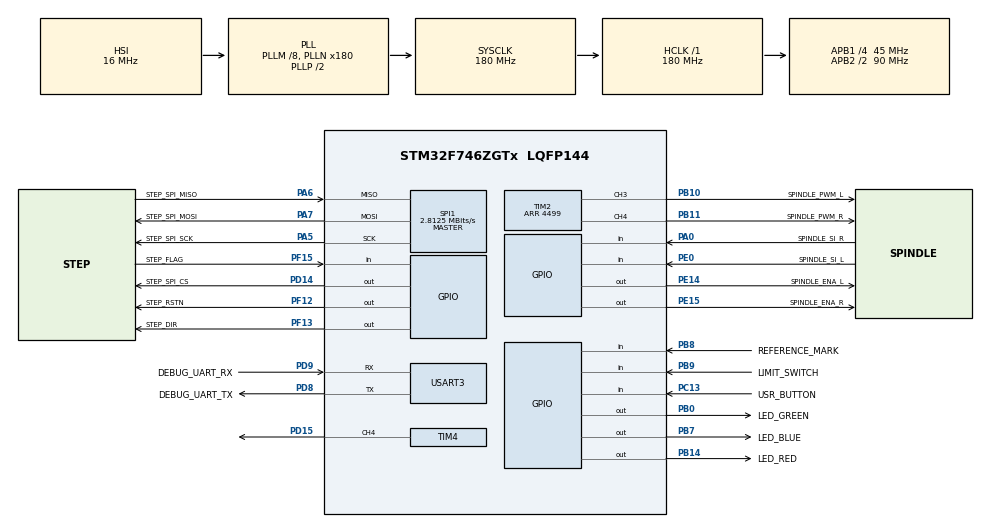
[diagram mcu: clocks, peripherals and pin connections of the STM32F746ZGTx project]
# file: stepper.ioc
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CORTEX_M7.AccessPermission_Spec=MPU_REGION_PRIV_RO_URO
CORTEX_M7.BaseAddress_S-Cortex_Memory_Protection_Unit_Region1_Settings_S=0x60000000
CORTEX_M7.DisableExec_S-Cortex_Memory_Protection_Unit_Region1_Settings_S=MPU_INSTRUCTION_ACCESS_DISABLE
CORTEX_M7.DisableExec_Spec=MPU_INSTRUCTION_ACCESS_ENABLE
CORTEX_M7.Enable_S-Cortex_Memory_Protection_Unit_Region1_Settings_S=MPU_REGION_ENABLE
CORTEX_M7.Enable_S-Cortex_Memory_Protection_Unit_Region2_Settings_S=__NULL
CORTEX_M7.IsShareable_S-Cortex_Memory_Protection_Unit_Region1_Settings_S=MPU_ACCESS_SHAREABLE
CORTEX_M7.IsShareable_Spec=MPU_ACCESS_NOT_SHAREABLE
CORTEX_M7.Size_S-Cortex_Memory_Protection_Unit_Region1_Settings_S=MPU_REGION_SIZE_4GB
CORTEX_M7.Size_Spec=MPU_REGION_SIZE_16KB
CORTEX_M7.SubRegionDisable_S-Cortex_Memory_Protection_Unit_Region1_Settings_S=0x87
CORTEX_M7.SubRegionDisable_Spec=0x0
CORTEX_M7.default_mode_Activation=1
Mcu.Family=STM32F7
Mcu.Name=STM32F746ZGTx
Mcu.Package=LQFP144
NVIC.PriorityGroup=NVIC_PRIORITYGROUP_4
NVIC.SPI1_IRQn=true\:5\:0\:true\:false\:true\:true\:true\:true
NVIC.TIM1_CC_IRQn=true\:0\:0\:false\:false\:true\:true\:true\:true
NVIC.TIM1_UP_TIM10_IRQn=true\:0\:0\:false\:false\:true\:true\:true\:true
PA0/WKUP.GPIO_Label=SPINDLE_SI_R
PA0/WKUP.Signal=GPIO_Input
PA5.GPIO_Label=STEP_SPI_SCK
PA5.Mode=Full_Duplex_Master
PA5.Signal=SPI1_SCK
PA6.GPIO_Label=STEP_SPI_MISO
PA6.Mode=Full_Duplex_Master
PA6.Signal=SPI1_MISO
PA7.GPIO_Label=STEP_SPI_MOSI
PA7.Mode=Full_Duplex_Master
PA7.Signal=SPI1_MOSI
PB0.GPIO_Label=LED_GREEN
PB0.Signal=GPIO_Output
PB10.GPIO_Label=SPINDLE_PWM_L
PB10.Signal=S_TIM2_CH3
PB11.GPIO_Label=SPINDLE_PWM_R
PB11.Signal=S_TIM2_CH4
PB14.GPIO_Label=LED_RED
PB14.Signal=GPIO_Output
PB7.GPIO_Label=LED_BLUE
PB7.Signal=GPIO_Output
PB8.GPIO_Label=REFERENCE_MARK
PB8.Signal=GPIO_Input
PB9.GPIO_Label=LIMIT_SWITCH
PB9.Signal=GPIO_Input
PC13.GPIO_Label=USR_BUTTON
PC13.Signal=GPIO_Input
PD14.GPIO_Label=STEP_SPI_CS
PD14.GPIO_Speed=GPIO_SPEED_FREQ_VERY_HIGH
PD14.PinState=GPIO_PIN_SET
PD14.Signal=GPIO_Output
PD15.Signal=S_TIM4_CH4
PD8.GPIO_Label=DEBUG_UART_TX
PD8.Mode=Asynchronous
PD8.Signal=USART3_TX
PD9.GPIO_Label=DEBUG_UART_RX
PD9.Mode=Asynchronous
PD9.Signal=USART3_RX
PE0.GPIO_Label=SPINDLE_SI_L
PE0.Signal=GPIO_Input
PE14.GPIO_Label=SPINDLE_ENA_L
PE14.Signal=GPIO_Output
PE15.GPIO_Label=SPINDLE_ENA_R
PE15.Signal=GPIO_Output
PF12.GPIO_Label=STEP_RSTN
PF12.Signal=GPIO_Output
PF13.GPIO_Label=STEP_DIR
PF13.GPIO_Speed=GPIO_SPEED_FREQ_VERY_HIGH
PF13.Signal=GPIO_Output
PF15.GPIO_Label=STEP_FLAG
PF15.GPIO_PuPd=GPIO_PULLUP
PF15.Signal=GPIO_Input
PH0/OSC_IN.Mode=HSE-External-Oscillator
PH0/OSC_IN.Signal=RCC_OSC_IN
PH1/OSC_OUT.Mode=HSE-External-Oscillator
PH1/OSC_OUT.Signal=RCC_OSC_OUT
ProjectManager.HeapSize=0x2000
ProjectManager.StackSize=0x800
ProjectManager.TargetToolchain=STM32CubeIDE
RCC.AHBFreq_Value=180000000
RCC.APB1CLKDivider=RCC_HCLK_DIV4
RCC.APB1Freq_Value=45000000
RCC.APB1TimFreq_Value=90000000
RCC.APB2CLKDivider=RCC_HCLK_DIV2
RCC.APB2Freq_Value=90000000
RCC.APB2TimFreq_Value=180000000
RCC.CortexFreq_Value=180000000
RCC.HCLKFreq_Value=180000000
RCC.HSE_VALUE=25000000
RCC.HSI_VALUE=16000000
RCC.LSE_VALUE=32768
RCC.PLLM=8
RCC.PLLN=180
RCC.SYSCLKFreq_VALUE=180000000
RCC.SYSCLKSource=RCC_SYSCLKSOURCE_PLLCLK
RCC.USBFreq_Value=180000000
RCC.VCOOutputFreq_Value=360000000
SH.S_TIM2_CH3.0=TIM2_CH3,PWM Generation3 CH3
SH.S_TIM2_CH4.0=TIM2_CH4,PWM Generation4 CH4
SH.S_TIM4_CH4.0=TIM4_CH4,PWM Generation4 CH4
SPI1.BaudRatePrescaler=SPI_BAUDRATEPRESCALER_32
SPI1.CLKPhase=SPI_PHASE_2EDGE
SPI1.CLKPolarity=SPI_POLARITY_HIGH
SPI1.CalculateBaudRate=2.8125 MBits/s
SPI1.DataSize=SPI_DATASIZE_8BIT
SPI1.Direction=SPI_DIRECTION_2LINES
SPI1.Mode=SPI_MODE_MASTER
SPI1.VirtualType=VM_MASTER
TIM1.Channel-Output\ Compare1\ No\ Output=TIM_CHANNEL_1
TIM1.Period=65535
TIM1.Prescaler=0
TIM1.TIM_MasterOutputTrigger=TIM_TRGO_ENABLE
TIM1.TIM_MasterOutputTrigger2=TIM_TRGO2_ENABLE
TIM2.Channel-PWM\ Generation3\ CH3=TIM_CHANNEL_3
TIM2.Channel-PWM\ Generation4\ CH4=TIM_CHANNEL_4
TIM2.Period=4499
TIM4.AutoReloadPreload=TIM_AUTORELOAD_PRELOAD_ENABLE
TIM4.Channel-PWM\ Generation4\ CH4=TIM_CHANNEL_4
TIM4.Period=3115
TIM4.Prescaler=1
TIM4.TIM_MasterOutputTrigger=TIM_TRGO_UPDATE
USART3.VirtualMode-Asynchronous=VM_ASYNC
VP_TIM1_VS_ClockSourceITR.Mode=TriggerSource_ITR3
VP_TIM1_VS_ControllerModeClock.Mode=Clock Mode
VP_TIM1_VS_OPM.Mode=OPM_bit
VP_TIM1_VS_no_output1.Mode=Output Compare1 No Output
VP_TIM2_VS_ClockSourceINT.Mode=Internal
VP_TIM4_VS_ClockSourceINT.Mode=Internal
VP_TIM4_VS_ClockSourceITR.Mode=TriggerSource_ITR0
VP_TIM4_VS_ControllerModeGated.Mode=Gated Mode
board=custom

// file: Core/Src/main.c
/* USER CODE BEGIN Header */
/**
  ******************************************************************************
  * @file           : main.c
  * @brief          : Main program body
  ******************************************************************************
  * @attention
  *
  * Copyright (c) 2024 STMicroelectronics.
  * All rights reserved.
  *
  * This software is licensed under terms that can be found in the LICENSE file
  * in the root directory of this software component.
  * If no LICENSE file comes with this software, it is provided AS-IS.
  *
  ******************************************************************************
  */
/* USER CODE END Header */
#include "main.h"

/* USER CODE BEGIN Includes */
#include "FreeRTOS.h"
#include "task.h"
#include "timers.h" // Include the header for TimerCallbackFunction_t
#include "stdio.h"
#include "LibL6474.h"
#include "customstepper.h"
#include "customspindel.h"
#include "Spindle.h"

/* USER CODE END Includes */

/* USER CODE BEGIN PD */
// fic
void vStepperPulseTask(void* pvParameters);
/* USER CODE END PD */

SPI_HandleTypeDef hspi1;

TIM_HandleTypeDef htim1;
TIM_HandleTypeDef htim2;
TIM_HandleTypeDef htim4;

UART_HandleTypeDef huart3;

L6474_Handle_t stepperHandle = NULL; //stepper handle for laster use
ConsoleHandle_t c = NULL;
StepperTaskArgs_t* stepperArgs = NULL;

void SystemClock_Config(void);
static void MPU_Config(void);
static void MX_GPIO_Init(void);
static void MX_SPI1_Init(void);
static void MX_USART3_UART_Init(void);
static void MX_TIM2_Init(void);
static void MX_TIM4_Init(void);
static void MX_TIM1_Init(void);
/* USER CODE BEGIN PFP */
extern void initialise_stdlib_abstraction( void );

void vApplicationMallocFailedHook( void )
{
  taskDISABLE_INTERRUPTS();
  __asm volatile( "bkpt #0" );
  for (;;) {;}
}
/*-----------------------------------------------------------*/

void vApplicationStackOverflowHook( TaskHandle_t pxTask, char *pcTaskName )
{
  ( void ) pcTaskName;
  ( void ) pxTask;

  taskDISABLE_INTERRUPTS();
  __asm volatile( "bkpt #0" );
  for (;;) {;}
}

/* USER CODE END PFP */

/* USER CODE BEGIN 0 */
// --------------------------------------------------------------------------------------------------------------------
static int CapabilityFunc( int argc, char** argv, void* ctx )
// --------------------------------------------------------------------------------------------------------------------
{
	(void)argc;
	(void)argv;
	(void)ctx;
	printf("%d,%d,%d,%d,%d,%d,%d,%d,%d,%d,%d,%d,%d,%d,%d,%d,%d,%d,%d,%d,%d,%d,%d,%d,%d,%d,%d\r\nOK",
	    0, // has spindle
		0, // has spindle status
		0, // has stepper
		0, // has stepper move relative
		0, // has stepper move speed
		0, // has stepper move async
		0, // has stepper status
		0, // has stepper refrun
		0, // has stepper refrun timeout
		0, // has stepper refrun skip
		0, // has stepper refrun stay enabled
		0, // has stepper reset
		0, // has stepper position
		0, // has stepper config
		0, // has stepper config torque
		0, // has stepper config throvercurr
		0, // has stepper config powerena
		0, // has stepper config stepmode
		0, // has stepper config timeoff
		0, // has stepper config timeon
		0, // has stepper config timefast
		0, // has stepper config mmperturn
		0, // has stepper config posmax
		0, // has stepper config posmin
		0, // has stepper config posref
		0, // has stepper config stepsperturn
		0  // has stepper cancel
	);
	return 0;
}

int main(void)
{

  /* MPU Configuration--------------------------------------------------------*/
  MPU_Config();

  /* MCU Configuration--------------------------------------------------------*/

  /* Reset of all peripherals, Initializes the Flash interface and the Systick. */
  HAL_Init();

  /* Configure the system clock */
  SystemClock_Config();

  /* Initialize all configured peripherals */
  MX_GPIO_Init();
  MX_SPI1_Init();
  MX_USART3_UART_Init();
  MX_TIM2_Init();
  MX_TIM4_Init();
  MX_TIM1_Init();
  /* USER CODE BEGIN 2 */

  // Create the task
  stepperArgs = pvPortMalloc(sizeof(StepperTaskArgs_t));
  if (!stepperArgs) { /* handle error */ }
  memset(stepperArgs, 0, sizeof(StepperTaskArgs_t));

  if(xTaskCreate(StepperTask, "StepperTask", 1024, stepperArgs, tskIDLE_PRIORITY + 3, NULL) != pdPASS){
      printf("Failed to create StepperTask\r\n");
      Error_Handler();
  }
  ConsoleHandle_t console_handle = CONSOLE_CreateInstance( 4*configMINIMAL_STACK_SIZE, configMAX_PRIORITIES - 5  );

  // Create Spindle Task

  init_spindle(console_handle, htim2);

  (void)CapabilityFunc;

  initConsole(console_handle);

  vTaskStartScheduler();
  /* USER CODE END 2 */

  /* Infinite loop */
  while (1)
  {

  }
}

int initConsole(ConsoleHandle_t c) {
  CONSOLE_RegisterCommand(c, "capability", "prints a specified string of capability bits", CapabilityFunc, NULL);

  if (CONSOLE_RegisterCommand(c, "stepper", "Moves the stepper", StepperConsoleFunction , stepperArgs) == 0) {
    printf("Stepper command registered successfully.\n");
  } else {
    printf("Failed to register stepper command.\n");
  }
}

void SystemClock_Config(void)
{
  RCC_OscInitTypeDef RCC_OscInitStruct = {0};
  RCC_ClkInitTypeDef RCC_ClkInitStruct = {0};

  /** Configure the main internal regulator output voltage
  */
  __HAL_RCC_PWR_CLK_ENABLE();
  __HAL_PWR_VOLTAGESCALING_CONFIG(PWR_REGULATOR_VOLTAGE_SCALE1);

  /** Initializes the RCC Oscillators according to the specified parameters
  * in the RCC_OscInitTypeDef structure.
  */
  RCC_OscInitStruct.OscillatorType = RCC_OSCILLATORTYPE_HSI;
  RCC_OscInitStruct.HSIState = RCC_HSI_ON;
  RCC_OscInitStruct.HSICalibrationValue = RCC_HSICALIBRATION_DEFAULT;
  RCC_OscInitStruct.PLL.PLLState = RCC_PLL_ON;
  RCC_OscInitStruct.PLL.PLLSource = RCC_PLLSOURCE_HSI;
  RCC_OscInitStruct.PLL.PLLM = 8;
  RCC_OscInitStruct.PLL.PLLN = 180;
  RCC_OscInitStruct.PLL.PLLP = RCC_PLLP_DIV2;
  RCC_OscInitStruct.PLL.PLLQ = 2;
  if (HAL_RCC_OscConfig(&RCC_OscInitStruct) != HAL_OK)
  {
    Error_Handler();
  }

  /** Initializes the CPU, AHB and APB buses clocks
  */
  RCC_ClkInitStruct.ClockType = RCC_CLOCKTYPE_HCLK|RCC_CLOCKTYPE_SYSCLK
                              |RCC_CLOCKTYPE_PCLK1|RCC_CLOCKTYPE_PCLK2;
  RCC_ClkInitStruct.SYSCLKSource = RCC_SYSCLKSOURCE_PLLCLK;
  RCC_ClkInitStruct.AHBCLKDivider = RCC_SYSCLK_DIV1;
  RCC_ClkInitStruct.APB1CLKDivider = RCC_HCLK_DIV4;
  RCC_ClkInitStruct.APB2CLKDivider = RCC_HCLK_DIV2;

  if (HAL_RCC_ClockConfig(&RCC_ClkInitStruct, FLASH_LATENCY_5) != HAL_OK)
  {
    Error_Handler();
  }
}

static void MX_SPI1_Init(void)
{

  /* SPI1 parameter configuration*/
  hspi1.Instance = SPI1;
  hspi1.Init.Mode = SPI_MODE_MASTER;
  hspi1.Init.Direction = SPI_DIRECTION_2LINES;
  hspi1.Init.DataSize = SPI_DATASIZE_8BIT;
  hspi1.Init.CLKPolarity = SPI_POLARITY_HIGH;
  hspi1.Init.CLKPhase = SPI_PHASE_2EDGE;
  hspi1.Init.NSS = SPI_NSS_SOFT;
  hspi1.Init.BaudRatePrescaler = SPI_BAUDRATEPRESCALER_32;
  hspi1.Init.FirstBit = SPI_FIRSTBIT_MSB;
  hspi1.Init.TIMode = SPI_TIMODE_DISABLE;
  hspi1.Init.CRCCalculation = SPI_CRCCALCULATION_DISABLE;
  hspi1.Init.CRCPolynomial = 7;
  hspi1.Init.CRCLength = SPI_CRC_LENGTH_DATASIZE;
  hspi1.Init.NSSPMode = SPI_NSS_PULSE_DISABLE;
  if (HAL_SPI_Init(&hspi1) != HAL_OK)
  {
    Error_Handler();
  }

}

static void MX_TIM1_Init(void)
{

  TIM_SlaveConfigTypeDef sSlaveConfig = {0};
  TIM_MasterConfigTypeDef sMasterConfig = {0};
  TIM_OC_InitTypeDef sConfigOC = {0};
  TIM_BreakDeadTimeConfigTypeDef sBreakDeadTimeConfig = {0};

  htim1.Instance = TIM1;
  htim1.Init.Prescaler = 0;
  htim1.Init.CounterMode = TIM_COUNTERMODE_UP;
  htim1.Init.Period = 65535;
  htim1.Init.ClockDivision = TIM_CLOCKDIVISION_DIV1;
  htim1.Init.RepetitionCounter = 0;
  htim1.Init.AutoReloadPreload = TIM_AUTORELOAD_PRELOAD_DISABLE;
  if (HAL_TIM_Base_Init(&htim1) != HAL_OK)
  {
    Error_Handler();
  }
  if (HAL_TIM_OC_Init(&htim1) != HAL_OK)
  {
    Error_Handler();
  }
  if (HAL_TIM_OnePulse_Init(&htim1, TIM_OPMODE_SINGLE) != HAL_OK)
  {
    Error_Handler();
  }
  sSlaveConfig.SlaveMode = TIM_SLAVEMODE_EXTERNAL1;
  sSlaveConfig.InputTrigger = TIM_TS_ITR3;
  if (HAL_TIM_SlaveConfigSynchro(&htim1, &sSlaveConfig) != HAL_OK)
  {
    Error_Handler();
  }
  sMasterConfig.MasterOutputTrigger = TIM_TRGO_ENABLE;
  sMasterConfig.MasterOutputTrigger2 = TIM_TRGO2_ENABLE;
  sMasterConfig.MasterSlaveMode = TIM_MASTERSLAVEMODE_DISABLE;
  if (HAL_TIMEx_MasterConfigSynchronization(&htim1, &sMasterConfig) != HAL_OK)
  {
    Error_Handler();
  }
  sConfigOC.OCMode = TIM_OCMODE_TIMING;
  sConfigOC.Pulse = 0;
  sConfigOC.OCPolarity = TIM_OCPOLARITY_HIGH;
  sConfigOC.OCNPolarity = TIM_OCNPOLARITY_HIGH;
  sConfigOC.OCFastMode = TIM_OCFAST_DISABLE;
  sConfigOC.OCIdleState = TIM_OCIDLESTATE_RESET;
  sConfigOC.OCNIdleState = TIM_OCNIDLESTATE_RESET;
  if (HAL_TIM_OC_ConfigChannel(&htim1, &sConfigOC, TIM_CHANNEL_1) != HAL_OK)
  {
    Error_Handler();
  }
  sBreakDeadTimeConfig.OffStateRunMode = TIM_OSSR_DISABLE;
  sBreakDeadTimeConfig.OffStateIDLEMode = TIM_OSSI_DISABLE;
  sBreakDeadTimeConfig.LockLevel = TIM_LOCKLEVEL_OFF;
  sBreakDeadTimeConfig.DeadTime = 0;
  sBreakDeadTimeConfig.BreakState = TIM_BREAK_DISABLE;
  sBreakDeadTimeConfig.BreakPolarity = TIM_BREAKPOLARITY_HIGH;
  sBreakDeadTimeConfig.BreakFilter = 0;
  sBreakDeadTimeConfig.Break2State = TIM_BREAK2_DISABLE;
  sBreakDeadTimeConfig.Break2Polarity = TIM_BREAK2POLARITY_HIGH;
  sBreakDeadTimeConfig.Break2Filter = 0;
  sBreakDeadTimeConfig.AutomaticOutput = TIM_AUTOMATICOUTPUT_DISABLE;
  if (HAL_TIMEx_ConfigBreakDeadTime(&htim1, &sBreakDeadTimeConfig) != HAL_OK)
  {
    Error_Handler();
  }

}

static void MX_TIM2_Init(void)
{

  TIM_ClockConfigTypeDef sClockSourceConfig = {0};
  TIM_MasterConfigTypeDef sMasterConfig = {0};
  TIM_OC_InitTypeDef sConfigOC = {0};

  htim2.Instance = TIM2;
  htim2.Init.Prescaler = 0;
  htim2.Init.CounterMode = TIM_COUNTERMODE_UP;
  htim2.Init.Period = 4499;
  htim2.Init.ClockDivision = TIM_CLOCKDIVISION_DIV1;
  htim2.Init.AutoReloadPreload = TIM_AUTORELOAD_PRELOAD_DISABLE;
  if (HAL_TIM_Base_Init(&htim2) != HAL_OK)
  {
    Error_Handler();
  }
  sClockSourceConfig.ClockSource = TIM_CLOCKSOURCE_INTERNAL;
  if (HAL_TIM_ConfigClockSource(&htim2, &sClockSourceConfig) != HAL_OK)
  {
    Error_Handler();
  }
  if (HAL_TIM_PWM_Init(&htim2) != HAL_OK)
  {
    Error_Handler();
  }
  sMasterConfig.MasterOutputTrigger = TIM_TRGO_RESET;
  sMasterConfig.MasterSlaveMode = TIM_MASTERSLAVEMODE_DISABLE;
  if (HAL_TIMEx_MasterConfigSynchronization(&htim2, &sMasterConfig) != HAL_OK)
  {
    Error_Handler();
  }
  sConfigOC.OCMode = TIM_OCMODE_PWM1;
  sConfigOC.Pulse = 0;
  sConfigOC.OCPolarity = TIM_OCPOLARITY_HIGH;
  sConfigOC.OCFastMode = TIM_OCFAST_DISABLE;
  if (HAL_TIM_PWM_ConfigChannel(&htim2, &sConfigOC, TIM_CHANNEL_3) != HAL_OK)
  {
    Error_Handler();
  }
  if (HAL_TIM_PWM_ConfigChannel(&htim2, &sConfigOC, TIM_CHANNEL_4) != HAL_OK)
  {
    Error_Handler();
  }
  HAL_TIM_MspPostInit(&htim2);

}

static void MX_TIM4_Init(void)
{

  TIM_ClockConfigTypeDef sClockSourceConfig = {0};
  TIM_SlaveConfigTypeDef sSlaveConfig = {0};
  TIM_MasterConfigTypeDef sMasterConfig = {0};
  TIM_OC_InitTypeDef sConfigOC = {0};

  htim4.Instance = TIM4;
  htim4.Init.Prescaler = 1;
  htim4.Init.CounterMode = TIM_COUNTERMODE_UP;
  htim4.Init.Period = 3115;
  htim4.Init.ClockDivision = TIM_CLOCKDIVISION_DIV1;
  htim4.Init.AutoReloadPreload = TIM_AUTORELOAD_PRELOAD_ENABLE;
  if (HAL_TIM_Base_Init(&htim4) != HAL_OK)
  {
    Error_Handler();
  }
  sClockSourceConfig.ClockSource = TIM_CLOCKSOURCE_INTERNAL;
  if (HAL_TIM_ConfigClockSource(&htim4, &sClockSourceConfig) != HAL_OK)
  {
    Error_Handler();
  }
  if (HAL_TIM_PWM_Init(&htim4) != HAL_OK)
  {
    Error_Handler();
  }
  sSlaveConfig.SlaveMode = TIM_SLAVEMODE_GATED;
  sSlaveConfig.InputTrigger = TIM_TS_ITR0;
  if (HAL_TIM_SlaveConfigSynchro(&htim4, &sSlaveConfig) != HAL_OK)
  {
    Error_Handler();
  }
  sMasterConfig.MasterOutputTrigger = TIM_TRGO_UPDATE;
  sMasterConfig.MasterSlaveMode = TIM_MASTERSLAVEMODE_DISABLE;
  if (HAL_TIMEx_MasterConfigSynchronization(&htim4, &sMasterConfig) != HAL_OK)
  {
    Error_Handler();
  }
  sConfigOC.OCMode = TIM_OCMODE_PWM1;
  sConfigOC.Pulse = 0;
  sConfigOC.OCPolarity = TIM_OCPOLARITY_HIGH;
  sConfigOC.OCFastMode = TIM_OCFAST_DISABLE;
  if (HAL_TIM_PWM_ConfigChannel(&htim4, &sConfigOC, TIM_CHANNEL_4) != HAL_OK)
  {
    Error_Handler();
  }
  HAL_TIM_MspPostInit(&htim4);

}

static void MX_USART3_UART_Init(void)
{

  huart3.Instance = USART3;
  huart3.Init.BaudRate = 115200;
  huart3.Init.WordLength = UART_WORDLENGTH_8B;
  huart3.Init.StopBits = UART_STOPBITS_1;
  huart3.Init.Parity = UART_PARITY_NONE;
  huart3.Init.Mode = UART_MODE_TX_RX;
  huart3.Init.HwFlowCtl = UART_HWCONTROL_NONE;
  huart3.Init.OverSampling = UART_OVERSAMPLING_16;
  huart3.Init.OneBitSampling = UART_ONE_BIT_SAMPLE_DISABLE;
  huart3.AdvancedInit.AdvFeatureInit = UART_ADVFEATURE_NO_INIT;
  if (HAL_UART_Init(&huart3) != HAL_OK)
  {
    Error_Handler();
  }

}

static void MX_GPIO_Init(void)
{
  GPIO_InitTypeDef GPIO_InitStruct = {0};

  /* GPIO Ports Clock Enable */
  __HAL_RCC_GPIOC_CLK_ENABLE();
  __HAL_RCC_GPIOH_CLK_ENABLE();
  __HAL_RCC_GPIOA_CLK_ENABLE();
  __HAL_RCC_GPIOB_CLK_ENABLE();
  __HAL_RCC_GPIOF_CLK_ENABLE();
  __HAL_RCC_GPIOE_CLK_ENABLE();
  __HAL_RCC_GPIOD_CLK_ENABLE();

  /*Configure GPIO pin Output Level */
  HAL_GPIO_WritePin(GPIOB, LED_GREEN_Pin|LED_RED_Pin|LED_BLUE_Pin, GPIO_PIN_RESET);

  /*Configure GPIO pin Output Level */
  HAL_GPIO_WritePin(GPIOF, STEP_RSTN_Pin|STEP_DIR_Pin, GPIO_PIN_RESET);

  /*Configure GPIO pin Output Level */
  HAL_GPIO_WritePin(GPIOE, SPINDLE_ENA_L_Pin|SPINDLE_ENA_R_Pin, GPIO_PIN_RESET);

  /*Configure GPIO pin Output Level */
  HAL_GPIO_WritePin(STEP_SPI_CS_GPIO_Port, STEP_SPI_CS_Pin, GPIO_PIN_SET);

  /*Configure GPIO pin : USR_BUTTON_Pin */
  GPIO_InitStruct.Pin = USR_BUTTON_Pin;
  GPIO_InitStruct.Mode = GPIO_MODE_INPUT;
  GPIO_InitStruct.Pull = GPIO_NOPULL;
  HAL_GPIO_Init(USR_BUTTON_GPIO_Port, &GPIO_InitStruct);

  /*Configure GPIO pin : SPINDLE_SI_R_Pin */
  GPIO_InitStruct.Pin = SPINDLE_SI_R_Pin;
  GPIO_InitStruct.Mode = GPIO_MODE_INPUT;
  GPIO_InitStruct.Pull = GPIO_NOPULL;
  HAL_GPIO_Init(SPINDLE_SI_R_GPIO_Port, &GPIO_InitStruct);

  /*Configure GPIO pins : LED_GREEN_Pin LED_RED_Pin LED_BLUE_Pin */
  GPIO_InitStruct.Pin = LED_GREEN_Pin|LED_RED_Pin|LED_BLUE_Pin;
  GPIO_InitStruct.Mode = GPIO_MODE_OUTPUT_PP;
  GPIO_InitStruct.Pull = GPIO_NOPULL;
  GPIO_InitStruct.Speed = GPIO_SPEED_FREQ_LOW;
  HAL_GPIO_Init(GPIOB, &GPIO_InitStruct);

  /*Configure GPIO pin : STEP_RSTN_Pin */
  GPIO_InitStruct.Pin = STEP_RSTN_Pin;
  GPIO_InitStruct.Mode = GPIO_MODE_OUTPUT_PP;
  GPIO_InitStruct.Pull = GPIO_NOPULL;
  GPIO_InitStruct.Speed = GPIO_SPEED_FREQ_LOW;
  HAL_GPIO_Init(STEP_RSTN_GPIO_Port, &GPIO_InitStruct);

  /*Configure GPIO pin : STEP_DIR_Pin */
  GPIO_InitStruct.Pin = STEP_DIR_Pin;
  GPIO_InitStruct.Mode = GPIO_MODE_OUTPUT_PP;
  GPIO_InitStruct.Pull = GPIO_NOPULL;
  GPIO_InitStruct.Speed = GPIO_SPEED_FREQ_VERY_HIGH;
  HAL_GPIO_Init(STEP_DIR_GPIO_Port, &GPIO_InitStruct);

  /*Configure GPIO pin : STEP_FLAG_Pin */
  GPIO_InitStruct.Pin = STEP_FLAG_Pin;
  GPIO_InitStruct.Mode = GPIO_MODE_INPUT;
  GPIO_InitStruct.Pull = GPIO_PULLUP;
  HAL_GPIO_Init(STEP_FLAG_GPIO_Port, &GPIO_InitStruct);

  /*Configure GPIO pins : SPINDLE_ENA_L_Pin SPINDLE_ENA_R_Pin */
  GPIO_InitStruct.Pin = SPINDLE_ENA_L_Pin|SPINDLE_ENA_R_Pin;
  GPIO_InitStruct.Mode = GPIO_MODE_OUTPUT_PP;
  GPIO_InitStruct.Pull = GPIO_NOPULL;
  GPIO_InitStruct.Speed = GPIO_SPEED_FREQ_LOW;
  HAL_GPIO_Init(GPIOE, &GPIO_InitStruct);

  /*Configure GPIO pin : STEP_SPI_CS_Pin */
  GPIO_InitStruct.Pin = STEP_SPI_CS_Pin;
  GPIO_InitStruct.Mode = GPIO_MODE_OUTPUT_PP;
  GPIO_InitStruct.Pull = GPIO_NOPULL;
  GPIO_InitStruct.Speed = GPIO_SPEED_FREQ_VERY_HIGH;
  HAL_GPIO_Init(STEP_SPI_CS_GPIO_Port, &GPIO_InitStruct);

  /*Configure GPIO pins : REFERENCE_MARK_Pin LIMIT_SWITCH_Pin */
  GPIO_InitStruct.Pin = REFERENCE_MARK_Pin|LIMIT_SWITCH_Pin;
  GPIO_InitStruct.Mode = GPIO_MODE_INPUT;
  GPIO_InitStruct.Pull = GPIO_NOPULL;
  HAL_GPIO_Init(GPIOB, &GPIO_InitStruct);

  /*Configure GPIO pin : SPINDLE_SI_L_Pin */
  GPIO_InitStruct.Pin = SPINDLE_SI_L_Pin;
  GPIO_InitStruct.Mode = GPIO_MODE_INPUT;
  GPIO_InitStruct.Pull = GPIO_NOPULL;
  HAL_GPIO_Init(SPINDLE_SI_L_GPIO_Port, &GPIO_InitStruct);

}

/* USER CODE BEGIN 4 */
void vAssertCalled( const char * const pcFileName, unsigned long ulLine )
{
volatile uint32_t ulSetToNonZeroInDebuggerToContinue = 0;

    /* Parameters are not used. */
    ( void ) ulLine;
    ( void ) pcFileName;

    taskENTER_CRITICAL();
    {
        /* You can step out of this function to debug the assertion by using
        the debugger to set ulSetToNonZeroInDebuggerToContinue to a non-zero
        value. */
        while( ulSetToNonZeroInDebuggerToContinue == 0 )
        {
        }
    }
    taskEXIT_CRITICAL();
}

int __stdout_put_char(int ch)
{
	uint8_t val = ch;
	while((huart3.Instance->ISR & UART_FLAG_TXE) == 0);
	huart3.Instance->TDR = val;
	while((huart3.Instance->ISR & UART_FLAG_TC) == 0);
	return 0;
}

int __stdin_get_char(void)
{
	if (huart3.Instance->ISR & UART_FLAG_ORE)
		huart3.Instance->ICR = UART_CLEAR_OREF;

	if (huart3.Instance->ISR & UART_FLAG_NE)
		huart3.Instance->ICR = UART_CLEAR_NEF;

	if (huart3.Instance->ISR & UART_FLAG_FE)
		huart3.Instance->ICR = UART_CLEAR_FEF;

	if ((huart3.Instance->ISR & UART_FLAG_RXNE) == 0) return -1;
	return huart3.Instance->RDR;
}
/* USER CODE END 4 */

 /* MPU Configuration */

void MPU_Config(void)
{
  MPU_Region_InitTypeDef MPU_InitStruct = {0};

  /* Disables the MPU */
  HAL_MPU_Disable();

  /** Initializes and configures the Region and the memory to be protected
  */
  MPU_InitStruct.Enable = MPU_REGION_ENABLE;
  MPU_InitStruct.Number = MPU_REGION_NUMBER0;
  MPU_InitStruct.BaseAddress = 0x0;
  MPU_InitStruct.Size = MPU_REGION_SIZE_16KB;
  MPU_InitStruct.SubRegionDisable = 0x0;
  MPU_InitStruct.TypeExtField = MPU_TEX_LEVEL0;
  MPU_InitStruct.AccessPermission = MPU_REGION_PRIV_RO_URO;
  MPU_InitStruct.DisableExec = MPU_INSTRUCTION_ACCESS_ENABLE;
  MPU_InitStruct.IsShareable = MPU_ACCESS_NOT_SHAREABLE;
  MPU_InitStruct.IsCacheable = MPU_ACCESS_NOT_CACHEABLE;
  MPU_InitStruct.IsBufferable = MPU_ACCESS_NOT_BUFFERABLE;

  HAL_MPU_ConfigRegion(&MPU_InitStruct);

  /** Initializes and configures the Region and the memory to be protected
  */
  MPU_InitStruct.Number = MPU_REGION_NUMBER1;
  MPU_InitStruct.BaseAddress = 0x60000000;
  MPU_InitStruct.Size = MPU_REGION_SIZE_4GB;
  MPU_InitStruct.SubRegionDisable = 0x87;
  MPU_InitStruct.AccessPermission = MPU_REGION_NO_ACCESS;
  MPU_InitStruct.DisableExec = MPU_INSTRUCTION_ACCESS_DISABLE;
  MPU_InitStruct.IsShareable = MPU_ACCESS_SHAREABLE;

  HAL_MPU_ConfigRegion(&MPU_InitStruct);
  /* Enables the MPU */
  HAL_MPU_Enable(MPU_PRIVILEGED_DEFAULT);

}

void Error_Handler(void)
{
  __disable_irq();
  while (1)
  {
  }
}

#ifdef  USE_FULL_ASSERT
/**
  * @brief  Reports the name of the source file and the source line number
  *         where the assert_param error has occurred.
  * @param  file: pointer to the source file name
  * @param  line: assert_param error line source number
  * @retval None
  */
void assert_failed(uint8_t *file, uint32_t line)
{
  /* USER CODE BEGIN 6 */
	portENTER_CRITICAL();

	printf("HAL_ASSERT: %s:::%u\r\n", (char*)file, (unsigned int)line);
	assert(0);

	portEXIT_CRITICAL();
  /* USER CODE END 6 */
}
#endif /* USE_FULL_ASSERT */
